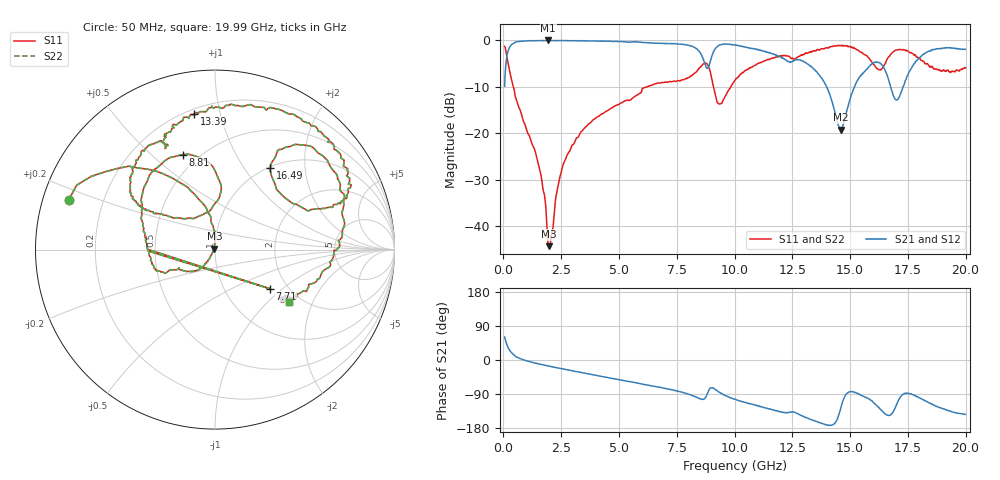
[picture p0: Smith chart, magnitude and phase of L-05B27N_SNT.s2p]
! Data Taken on a HP 8720C VNA using a shunt-through fixture with TRL* de-embedding
#	mhz	s	ma	r	50
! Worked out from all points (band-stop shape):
!   998 points, 50 MHz to 19.99 GHz, reference 50 ohm
!   highest |S21| = -0.02 dB at 1.93 GHz (marker M1); lowest = -19.2 dB at 14.59 GHz (marker M2)
!   |S21| within 3 dB of the highest: 162.6 MHz to 8.557 GHz (8.395 GHz wide, 193 % of centre); 9.046 GHz to 11.73 GHz (2.685 GHz wide, 25.8 % of centre) (the widest 2 of 3)
!   lowest |S11| = -44.3 dB at 1.97 GHz (marker M3), VSWR 1.01, Z = 49.7 + j0.534 ohm
!   |S11| at or under -10 dB: 426.9 MHz to 6.227 GHz (5.8 GHz wide, 174 % of centre); 9.09 GHz to 9.842 GHz (751.9 MHz wide, 7.94 % of centre)
!   |S22| runs from -44.3 to -1.1 dB; largest |S21 - S12| = 0
!   S11 on the Smith chart (normalised r, x): 50 MHz: 0.08, +0.16; 7.71 GHz: 1.62, -0.82; 8.81 GHz: 0.41, +0.63; 13.39 GHz: 0.23, +0.83; 16.49 GHz: 1.02, +1.33; 19.99 GHz: 1.74, -1.36
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50  0.8611 161.3  0.3193 60.8  0.3193 60.8  0.8611 161.3
510  0.25 103.0  0.9559 9.6  0.9559 9.6  0.25 103.0
1550  0.04272 89.7  0.9958 -10.8  0.9958 -10.8  0.04272 89.7
1930  0.00632 108.8  0.9975 -15.5  0.9975 -15.5  0.00632 108.8
1970  0.00607 117.8  0.9949 -16.0  0.9949 -16.0  0.00607 117.8
2550  0.04283 -124.7  0.9922 -23.3  0.9922 -23.3  0.04283 -124.7
3390  0.1052 -124.5  0.9872 -33.3  0.9872 -33.3  0.1052 -124.5
6710  0.3474 -160.2  0.9293 -71.4  0.9293 -71.4  0.3474 -160.2
7710  0.3744 -35.5  0.9083 -84.7  0.9083 -84.7  0.3744 -35.5
8810  0.5589 108.6  0.5002 -90.7  0.5002 -90.7  0.5589 108.6
9330  0.2061 109.9  0.8874 -84.7  0.8874 -84.7  0.2061 109.9
10030  0.3746 147.4  0.8885 -104.0  0.8885 -104.0  0.3746 147.4
13350  0.7651 100.3  0.515 -158.1  0.515 -158.1  0.7651 100.3
13390  0.7649 98.8  0.5026 -158.8  0.5026 -158.8  0.7649 98.8
14590  0.8776 46.2  0.1092 -128.3  0.1092 -128.3  0.8776 46.2
15710  0.6872 20.3  0.4876 -99.3  0.4876 -99.3  0.6872 20.3
16490  0.5489 55.7  0.4929 -140.7  0.4929 -140.7  0.5489 55.7
16670  0.6624 57.3  0.373 -146.4  0.373 -146.4  0.6624 57.3
17030  0.7883 44.9  0.2286 -115.2  0.2286 -115.2  0.7883 44.9
17570  0.7375 16.3  0.4633 -89.1  0.4633 -89.1  0.7375 16.3
18350  0.5606 -24.6  0.7537 -110.7  0.7537 -110.7  0.5606 -24.6
19990  0.5065 -35.1  0.8011 -143.6  0.8011 -143.6  0.5065 -35.1
